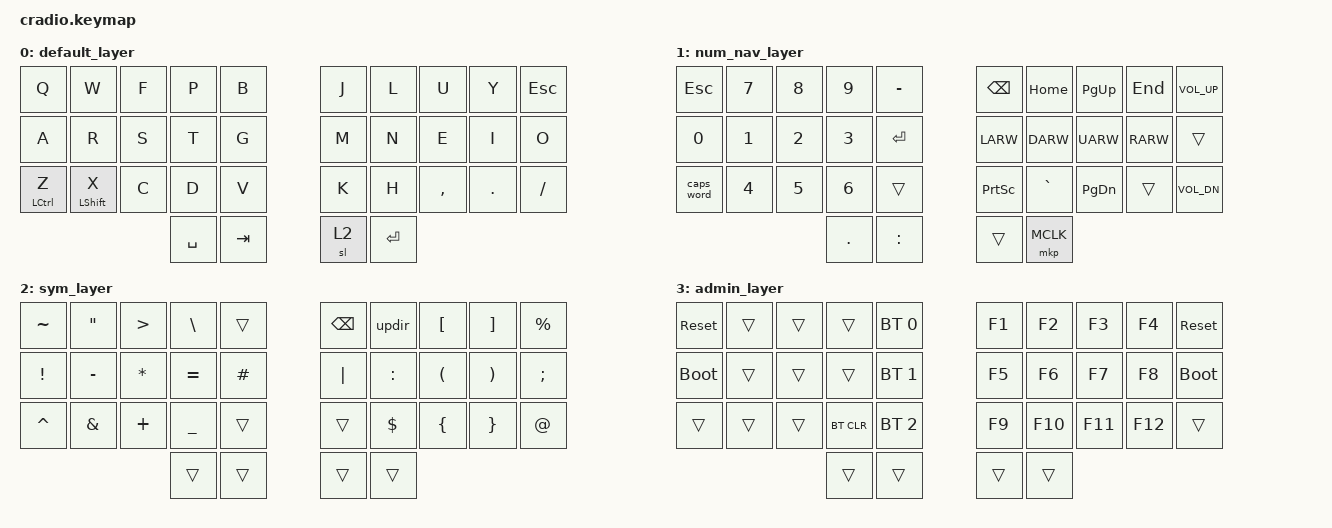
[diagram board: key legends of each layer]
// Copyright (c) 2022 The ZMK Contributors
// SPDX-License-Identifier: MIT

#include <behaviors.dtsi>
#include <dt-bindings/zmk/keys.h>
#include <dt-bindings/zmk/bt.h>
#include <dt-bindings/zmk/mouse.h>

&sk {
    release-after-ms = <500>;
    quick-release;
};
&sl {
    release-after-ms = <500>;
};
/ {
  kscan {
    debounce-release-ms = <10>;
  };
  behaviors {
    ht: hold_tap {
      compatible = "zmk,behavior-hold-tap";
      #binding-cells = <2>;
      flavor = "balanced";
      tapping-term-ms = <220>;
      quick-tap-ms = <150>;
      // require-prior-idle-ms = <100>;
      bindings = <&kp>, <&kp>;
    };
    rpi: require_prior_idle {
      compatible = "zmk,behavior-hold-tap";
      #binding-cells = <2>;
      flavor = "balanced";
      tapping-term-ms = <200>;
      quick-tap-ms = <200>;
      require-prior-idle-ms = <125>;
      bindings = <&kp>, <&kp>;
    };
    rpil: require_prior_idle_layer {
      compatible = "zmk,behavior-hold-tap";
      #binding-cells = <2>;
      flavor = "balanced";
      tapping-term-ms = <200>;
      quick-tap-ms = <200>;
      require-prior-idle-ms = <125>;
      bindings = <&mo>, <&kp>;
    };
    td_rctrl: tap_dance_0 {
      compatible = "zmk,behavior-tap-dance";
      #binding-cells = <0>;
      tapping-term-ms = <200>;
      bindings = <&kp RCTRL>, <&kp RWIN>;
    };
    td_lctrl: tap_dance_1 {
      compatible = "zmk,behavior-tap-dance";
      #binding-cells = <0>;
      tapping-term-ms = <200>;
      bindings = <&kp LCTRL>, <&kp LWIN>;
    };
  };
  macros {
    updir: updir {
      compatible = "zmk,behavior-macro";
      #binding-cells = <0>;
      bindings
      = <&kp DOT &kp DOT &kp FSLH>;
    };
    /**
    * Temporarily switches to a layer (`&mo`) while a modifier is held.
    * Analogous to QMK's `LM()`, using a parameterized macro.
    *
    * Params:
    *  1. Layer to switch to
    *  2. Modifier to press while layer is active
    *
    * Example:
    *  `&lm NUM_LAYER LSHIFT`
    */
    lm: lm {
      compatible = "zmk,behavior-macro-two-param";
      wait-ms = <0>;
      tap-ms = <0>;
      #binding-cells = <2>;
      bindings
      = <&macro_param_1to1>
      , <&macro_press &mo MACRO_PLACEHOLDER>
      , <&macro_param_2to1>
      , <&macro_press &kp MACRO_PLACEHOLDER>
      , <&macro_pause_for_release>
      , <&macro_param_2to1>
      , <&macro_release &kp MACRO_PLACEHOLDER>
      , <&macro_param_1to1>
      , <&macro_release &mo MACRO_PLACEHOLDER>
      ;
    };
  };
  combos {
    compatible = "zmk,combos";
    combo_lwin {
      timeout-ms = <75>;
      key-positions = <10 20>;
      bindings = <&kp LWIN>;
    };
    combo_lalt {
      timeout-ms = <75>;
      key-positions = <0 10>;
      bindings = <&kp LALT>;
    };
    combo_l1 {
      timeout-ms = <75>;
      key-positions = <1 11>;
      bindings = <&mo 1>;
    };
    combo_lctrl {
      timeout-ms = <75>;
      key-positions = <2 12>;
      bindings = <&td_lctrl>;
    };
    combo_lshft {
      timeout-ms = <75>;
      key-positions = <3 13>;
      bindings = <&kp LSHFT>;
    };
    combo_caps_word {
      timeout-ms = <75>;
      key-positions = <4 14>;
      bindings = <&caps_word>;
    };
    combo_del {
      timeout-ms = <75>;
      key-positions = <3 4>;
      bindings = <&kp DEL>;
    };
    combo_del2 {
      timeout-ms = <75>;
      key-positions = <15 25>;
      bindings = <&kp DEL>;
    };

    combo_bspc {
      timeout-ms = <75>;
      key-positions = <5 15>;
      bindings = <&kp BSPC>;
    };
    combo_rshft {
      timeout-ms = <75>;
      key-positions = <6 16>;
      bindings = <&kp RSHFT>;
    };
    combo_rctrl {
      timeout-ms = <75>;
      key-positions = <7 17>;
      bindings = <&td_rctrl>;
    };
    combo_r2 {
      timeout-ms = <75>;
      key-positions = <8 18>;
      bindings = <&mo 1>;
    };
    combo_alt_sqt {
      timeout-ms = <75>;
      key-positions = <9 19>;
      bindings = <&kp SQT>;
    };
    combo_rwin {
      timeout-ms = <75>;
      key-positions = <19 29>;
      bindings = <&kp RWIN>;
    };
    combo_ladmin {
      timeout-ms = <75>;
      key-positions = <30 31>;
      bindings = <&mo 3>;
    };
    combo_radmin {
      timeout-ms = <75>;
      key-positions = <32 33>;
      bindings = <&mo 3>;
    };
    combo_scrolllock {
      timeout-ms = <75>;
      key-positions = <14 24>;
      bindings = <&kp SLCK>;
    };
  };

  keymap {
    compatible = "zmk,keymap";
    default_layer {
      bindings = <
        //╭──────────┬──────────┬──────────┬──────────┬──────────╮   ╭──────────┬──────────┬──────────┬──────────┬──────────╮
        //│  Q       │  W       │  F       │  P       │  B       │   │  J       │  L       │  U       │  Y       │  ESC     │
            &kp Q       &kp W      &kp F      &kp P      &kp B         &kp J      &kp L      &kp U      &kp Y       &kp ESC
        //├──────────┼──────────┼──────────┼──────────┼──────────┤   ├──────────┼──────────┼──────────┼──────────┼──────────┤
        //│  A       │  R       │  S       │  T       │  G       │   │  M       │  N       │  E       │  I       │  O       │
             &kp A     &kp R      &kp S      &kp T      &kp G          &kp M      &kp N      &kp E      &kp I      &kp O
        //├──────────┼──────────┼──────────┼──────────┼──────────┤   ├──────────┼──────────┼──────────┼──────────┼──────────┤
        //│  Z       │  X       │  C       │  D       │  V       │   │  K       │  H       │ , <      │ . >      │ / ?      │
         &rpi LCTRL Z &rpi LSHFT X &kp C      &kp D      &kp V          &kp K      &kp H      &kp COMMA  &kp DOT    &kp FSLH
        //╰──────────┴──────────┴──────────┼──────────┼──────────┤   ├──────────┼──────────┼──────────┴──────────┴──────────╯
                                            &kp SPACE   &kp TAB         &sl 2    &kp ENTER
        //                                 ╰──────────┴──────────╯   ╰──────────┴──────────╯
      >;
    };

    num_nav_layer {
      bindings = <
        //╭──────────┬──────────┬──────────┬──────────┬──────────╮   ╭──────────┬──────────┬──────────┬──────────┬──────────╮
        //│ ESC      │  7       │  8       │  9       │  1       │   │ BSPC     │ HOME     │ PAGE UP  │ END      │  VOL UP  │
            &kp ESC    &kp N7     &kp N8     &kp N9    &kp MINUS       &kp BSPC   &kp HOME  &kp PG_UP  &kp END    &kp C_VOL_UP
        //├──────────┼──────────┼──────────┼──────────┼──────────┤   ├──────────┼──────────┼──────────┼──────────┼──────────┤
        //│ 0        │  1       │  2       │  3       │  ENTER   │   │ LEFT     │ DOWN     │ UP       │ RIGHT    │          │
            &kp N0      &kp N1    &kp N2     &kp N3   &kp ENTER       &kp LARW   &kp DARW   &kp UARW   &kp RARW   &trans
        //├──────────┼──────────┼──────────┼──────────┼──────────┤   ├──────────┼──────────┼──────────┼──────────┼──────────┤
        //│ CAPS     │  4       │  5       │  6       │          │   │PRINT SCRN│ `        │ PAGE DN  │          │ VOL DN   │
            &caps_word  &kp N4     &kp N5     &kp N6     &trans       &kp PSCRN  &kp GRAVE  &kp PG_DN   &trans   &kp C_VOL_DN
        //╰──────────┴──────────┴──────────┼──────────┼──────────┤   ├──────────┼──────────┼──────────┴──────────┴──────────╯
                                              &kp DOT   &kp COLON        &trans   &mkp MCLK
        //                                 ╰──────────┴──────────╯   ╰──────────┴──────────╯
      >;
    };

    sym_layer {
      bindings = <
        //╭──────────┬──────────┬──────────┬──────────┬──────────╮   ╭──────────┬──────────┬──────────┬──────────┬──────────╮
        //│ ~        │  "       │  >       │  \       │          │   │  BSPC    │  ../     │  [       │  ]       │  %       │
            &kp TILDE   &kp DQT     &kp GT    &kp BSLH   &trans         &kp BSPC    &updir    &kp LBKT   &kp RBKT  &kp PRCNT
        //├──────────┼──────────┼──────────┼──────────┼──────────┤   ├──────────┼──────────┼──────────┼──────────┼──────────┤
        //│  !       │  -       │  *       │  =       │  #       │   │  |       │  :       │  (       │  )       │  ;       │
            &kp EXCL   &kp MINUS  &kp ASTRK  &kp EQUAL   &kp HASH      &kp PIPE  &kp COLON  &kp LPAR   &kp RPAR   &kp SEMI
        //├──────────┼──────────┼──────────┼──────────┼──────────┤   ├──────────┼──────────┼──────────┼──────────┼──────────┤
        //│ ^        │  &       │  +       │  _       │          │   │          │  $       │  [       │  ]       │  @       │
            &kp CARET  &kp AMPS   &kp PLUS  &kp UNDER     &trans        &trans   &kp DLLR    &kp LBRC   &kp RBRC   &kp AT
        //╰──────────┴──────────┴──────────┼──────────┼──────────┤   ├──────────┼──────────┼──────────┴──────────┴──────────╯
                                              &trans     &trans         &trans     &trans
        //                                 ╰──────────┴──────────╯   ╰──────────┴──────────╯
      >;
    };

    admin_layer {
      bindings = <
        //╭──────────┬──────────┬──────────┬──────────┬──────────╮   ╭──────────┬──────────┬──────────┬──────────┬──────────╮
        //│ RESET    │          │          │          │PROFILE 0 │   │          │          │          │          │  RESET   │
            &sys_reset  &trans     &trans     &trans    &bt BT_SEL 0    &kp F1     &kp F2     &kp F3     &kp F4    &sys_reset
        //├──────────┼──────────┼──────────┼──────────┼──────────┤   ├──────────┼──────────┼──────────┼──────────┼──────────┤
        //│BOOTLOADER│          │          │          │PROFILE 1 │   │          │          │          │          │BOOTLOADER│
            &bootloader  &trans     &trans     &trans    &bt BT_SEL 1   &kp F5     &kp F6     &kp F7     &kp F8   &bootloader
        //├──────────┼──────────┼──────────┼──────────┼──────────┤   ├──────────┼──────────┼──────────┼──────────┼──────────┤
        //│          │          │          │ CLEAR BT │PROFILE 2 │   │          │          │          │          │          │
            &trans     &trans     &trans    &bt BT_CLR &bt BT_SEL 2     &kp F9     &kp F10    &kp F11    &kp F12     &trans
        //╰──────────┴──────────┴──────────┼──────────┼──────────┤   ├──────────┼──────────┼──────────┴──────────┴──────────╯
                                              &trans     &trans         &trans     &trans
        //                                 ╰──────────┴──────────╯   ╰──────────┴──────────╯
      >;
    };
  };
};
